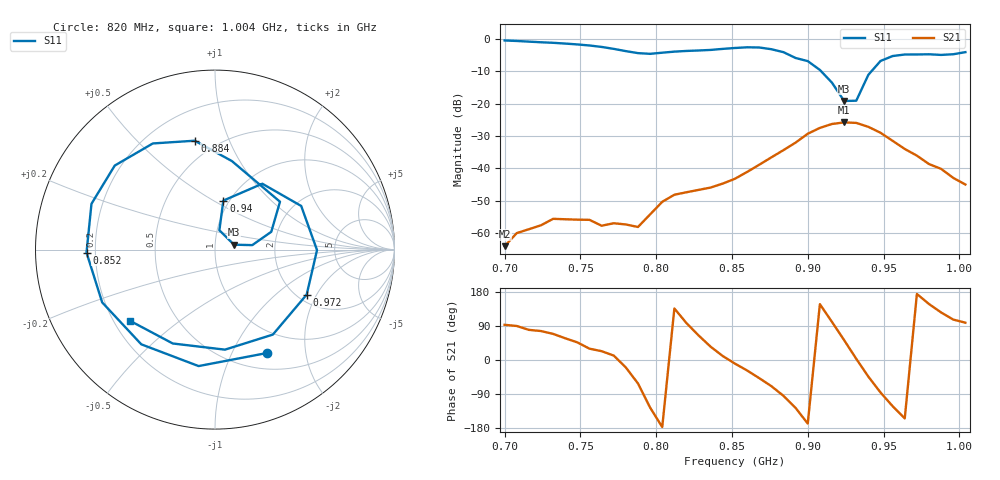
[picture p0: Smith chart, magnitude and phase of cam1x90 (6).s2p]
# Hz S RI R 50
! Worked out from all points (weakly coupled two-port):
!   39 points, 700 MHz to 1.004 GHz, reference 50 ohm
!   highest |S21| = -25.82 dB at 924 MHz (marker M1); lowest = -63.9 dB at 700 MHz (marker M2)
!   lowest |S11| = -19.2 dB at 924 MHz (marker M3), VSWR 1.25, Z = 61.7 + j3.42 ohm
!   |S11| at or under -10 dB: 908.7 MHz to 942.2 MHz (33.47 MHz wide, 3.62 % of centre)
!   S12 and S22 are empty: the file has one direction only
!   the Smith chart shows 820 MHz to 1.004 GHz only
!   S11 on the Smith chart (normalised r, x): 820 MHz: 0.70, -1.38; 852 MHz: 0.17, -0.01; 884 MHz: 0.39, +0.76; 940 MHz: 0.94, +0.56; 972 MHz: 2.24, -1.66; 1.004 GHz: 0.27, -0.34
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7e8  0.7559 0.5506  -3.17e-05 0.000636  0 0  0 0
7.24e8  0.8412 -0.2472  0.000314 0.0013  0 0  0 0
7.4e8  0.4572 -0.7015  0.000892 0.00139  0 0  0 0
7.56e8  -0.1915 -0.7586  0.0014 0.000806  0 0  0 0
7.72e8  -0.6649 -0.1987  0.0014 0.00029  0 0  0 0
7.8e8  -0.6002 0.2237  0.00129 -0.000465  0 0  0 0
7.96e8  0.233 0.5332  -0.00114 -0.0016  0 0  0 0
8.04e8  0.576 0.1892  -0.00306 -0.000161  0 0  0 0
8.2e8  0.2894 -0.5762  -0.000546 0.00427  0 0  0 0
8.36e8  -0.4106 -0.5277  0.00418 0.00291  0 0  0 0
8.52e8  -0.7159 -0.0166  0.00685 -0.00116  0 0  0 0
8.68e8  -0.5584 0.4683  0.00765 -0.00848  0 0  0 0
8.84e8  -0.1128 0.6067  -0.00156 -0.0191  0 0  0 0
9e8  0.3621 0.2667  -0.0335 -0.00727  0 0  0 0
9.08e8  0.3136 0.0992  -0.0355 0.0227  0 0  0 0
9.24e8  0.1059 0.0274  0.0312 0.0405  0 0  0 0
9.32e8  0.0244 0.1077  0.0502 0.0027  0 0  0 0
9.4e8  0.0465 0.2731  0.0315 -0.0304  0 0  0 0
9.56e8  0.4803 0.2431  -0.0141 -0.0226  0 0  0 0
9.72e8  0.5108 -0.2508  -0.0157 0.0016  0 0  0 0
9.88e8  0.0554 -0.5574  -0.00571 0.00803  0 0  0 0
1.004e9  -0.474 -0.3965  -0.000829 0.0056  0 0  0 0
